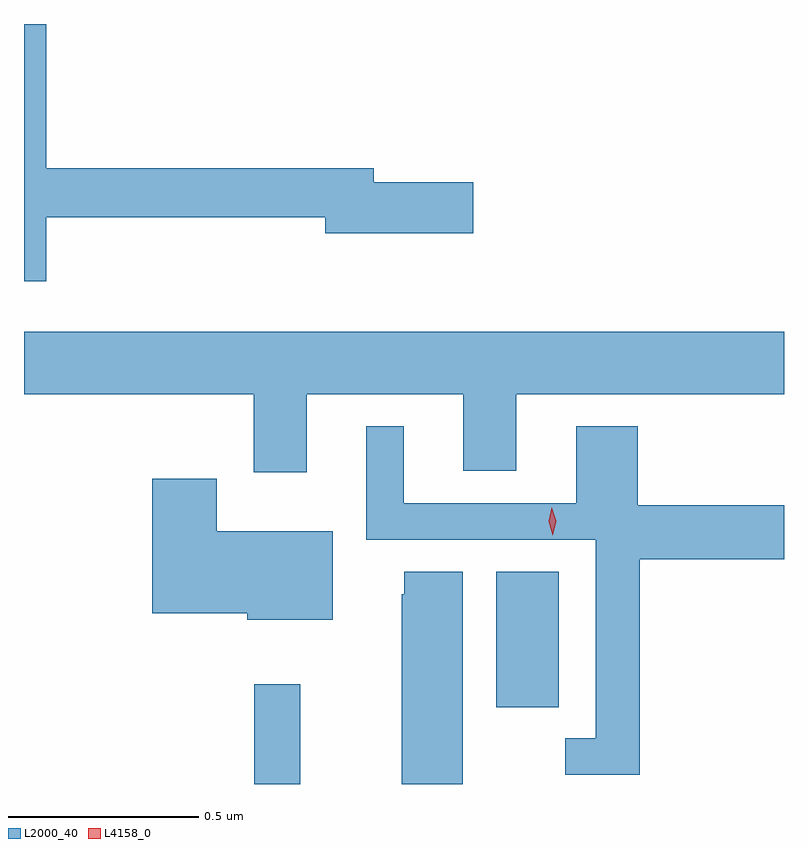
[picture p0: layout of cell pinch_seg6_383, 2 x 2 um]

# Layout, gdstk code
import gdstk
lib = gdstk.Library(unit=1e-6, precision=1e-09)
def R(c, l, rs):  # rectangles x0, y0, x1, y1
    for r in rs: c.add(gdstk.rectangle(r[:2], r[2:], *l))
def P(c, l, *ps):  # polygons
    for p in ps: c.add(gdstk.Polygon(p, *l))
L2000_40 = (2000, 40)
L4158_0 = (4158, 0)

pinch_seg6_383 = lib.new_cell('pinch_seg6_383')
R(pinch_seg6_383, L2000_40, [(675.091,935.654,675.212,935.917), (675.728,935.856,675.892,936.212)])
P(pinch_seg6_383, L2000_40, [(674.543,937.146),(675.278,937.146),(675.278,937.103),(675.667,937.103),(675.667,937.238),(675.406,937.238),(675.406,937.274),(674.543,937.274),(674.543,937.654),(674.485,937.654),(674.485,936.977),(674.543,936.977)],
  [(675.229,936.68),(675.641,936.68),(675.641,936.478),(675.781,936.478),(675.781,936.68),(676.485,936.68),(676.485,936.844),(674.485,936.844),(674.485,936.68),(675.089,936.68),(675.089,936.474),(675.229,936.474)],
  [(676.106,936.245),(676.485,936.245),(676.485,936.387),(676.1,936.387),(676.1,936.595),(675.938,936.595),(675.938,936.393),(675.484,936.393),(675.484,936.595),(675.386,936.595),(675.386,936.297),(675.99,936.297),(675.99,935.775),(675.909,935.775),(675.909,935.678),(676.106,935.678)],
  [(675.298,936.319),(674.992,936.319),(674.992,936.457),(674.822,936.457),(674.822,936.104),(675.072,936.104),(675.072,936.086),(675.298,936.086)],
  [(675.64,936.212),(675.485,936.212),(675.485,936.153),(675.479,936.153),(675.479,935.654),(675.64,935.654)])
P(pinch_seg6_383, L4158_0, [(675.877,936.309),(675.877,936.309),(675.866,936.345),(675.874,936.381),(675.874,936.382),(675.874,936.381),(675.886,936.346),(675.877,936.309)])

lib.write_gds('pinch_seg6_383.gds')
